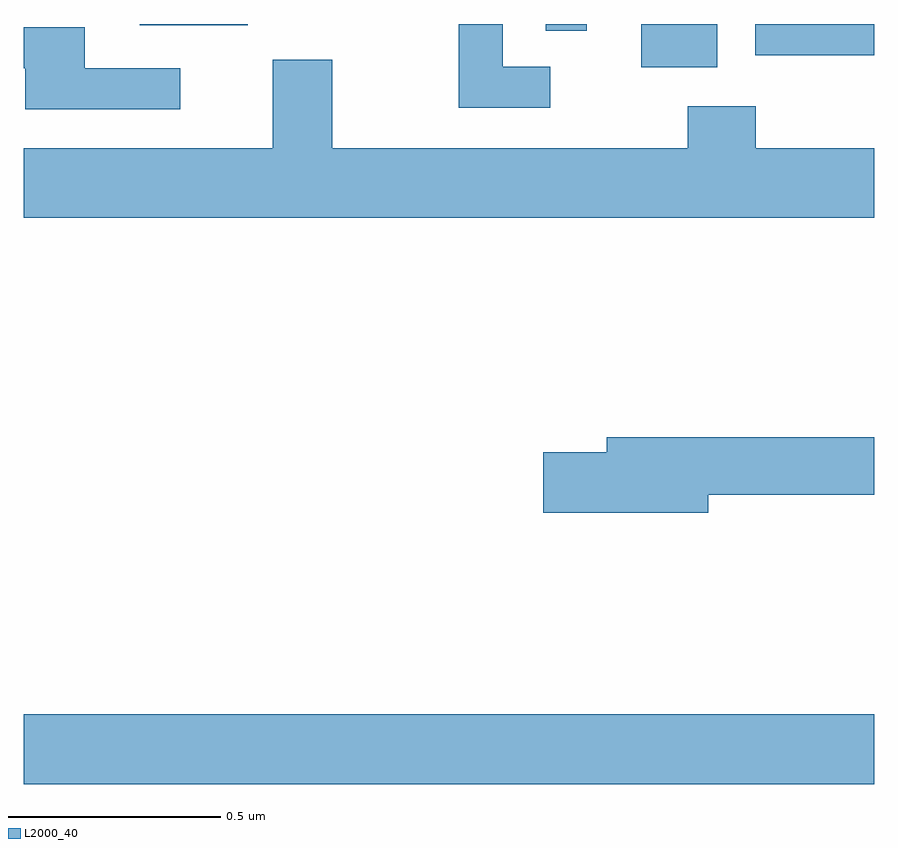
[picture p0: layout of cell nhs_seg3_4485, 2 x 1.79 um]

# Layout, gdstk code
import gdstk
lib = gdstk.Library(unit=1e-6, precision=1e-09)
def R(c, l, rs):  # rectangles x0, y0, x1, y1
    for r in rs: c.add(gdstk.rectangle(r[:2], r[2:], *l))
def P(c, l, *ps):  # polygons
    for p in ps: c.add(gdstk.Polygon(p, *l))
L2000_40 = (2000, 40)

nhs_seg3_4485 = lib.new_cell('nhs_seg3_4485')
R(nhs_seg3_4485, L2000_40, [(167,671.612,169,671.776), (168.452,673.298,168.631,673.4), (168.72,673.327,169,673.4), (168.228,673.384,168.324,673.4), (167.273,673.397,167.527,673.4)])
P(nhs_seg3_4485, L2000_40, [(168.238,673.299),(168.127,673.299),(168.127,673.4),(168.023,673.4),(168.023,673.203),(168.238,673.203)],
  [(167.368,673.296),(167.143,673.296),(167.143,673.392),(167,673.392),(167,673.296),(167.003,673.296),(167.003,673.2),(167.368,673.2)],
  [(169,673.108),(168.722,673.108),(168.722,673.207),(168.562,673.207),(168.562,673.108),(167.725,673.108),(167.725,673.316),(167.585,673.316),(167.585,673.108),(167,673.108),(167,672.944),(169,672.944)],
  [(168.61,672.292),(169,672.292),(169,672.428),(168.371,672.428),(168.371,672.392),(168.222,672.392),(168.222,672.25),(168.61,672.25)])

lib.write_gds('nhs_seg3_4485.gds')
